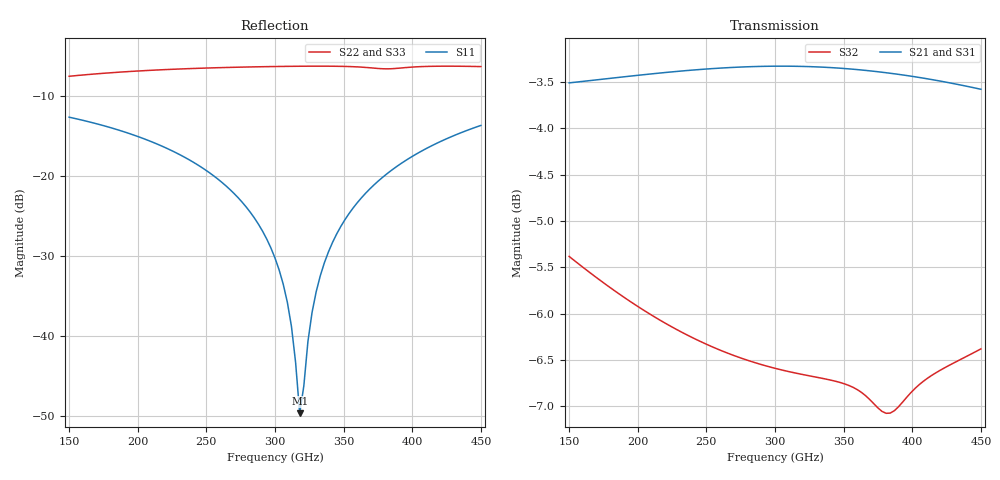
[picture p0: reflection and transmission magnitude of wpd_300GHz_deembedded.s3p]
! Created with skrf 2.2.0 (http://scikit-rf.org).
# GHz S DB R 50.0
! Port[1] = P1
! Port[2] = P2
! Port[3] = P3
!freq dBS11 angS11 dBS12 angS12 dBS13 angS13
! dBS21 angS21 dBS22 angS22 dBS23 angS23
! dBS31 angS31 dBS32 angS32 dBS33 angS33
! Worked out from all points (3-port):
!   101 points, 150 GHz to 450 GHz, reference 50 ohm
!   strongest paths, dB at 150 GHz, 225 GHz, 300 GHz, 375 GHz, 450 GHz:
!     S21: -3.5, -3.4, -3.3, -3.4, -3.6
!     S31: -3.5, -3.4, -3.3, -3.4, -3.6
!     S32: -5.4, -6.1, -6.6, -7.0, -6.4
!   lowest |S11| = -49.7 dB at 318 GHz (marker M1), VSWR 1.01, Z = 49.7 + j0.0701 ohm
!   |S11| at or under -10 dB: start of sweep to end of sweep
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150  -12.60 142.5  -3.51 -41.8  -3.51 -41.8
     -3.51 -41.8  -7.47 55.4  -5.38 -94.5
     -3.51 -41.8  -5.38 -94.5  -7.47 55.4
249  -19.17 118.3  -3.36 -70.5  -3.36 -70.5
     -3.36 -70.5  -6.44 13.1  -6.32 -148.5
     -3.36 -70.5  -6.32 -148.5  -6.44 13.1
279  -23.85 111.6  -3.33 -79.4  -3.34 -79.4
     -3.33 -79.4  -6.31 2.7  -6.50 -164.4
     -3.34 -79.4  -6.50 -164.4  -6.31 2.7
300  -30.25 109.0  -3.33 -85.7  -3.33 -85.7
     -3.33 -85.7  -6.25 -4.2  -6.59 -175.5
     -3.33 -85.7  -6.59 -175.5  -6.25 -4.2
312  -38.83 115.6  -3.33 -89.3  -3.33 -89.3
     -3.33 -89.3  -6.22 -8.1  -6.63 178.2
     -3.33 -89.3  -6.63 178.2  -6.22 -8.1
318  -49.71 167.5  -3.33 -91.1  -3.33 -91.1
     -3.33 -91.1  -6.21 -10.0  -6.65 175.0
     -3.33 -91.1  -6.65 175.0  -6.21 -10.0
330  -34.48 -94.0  -3.33 -94.7  -3.34 -94.8
     -3.33 -94.7  -6.20 -13.9  -6.69 168.6
     -3.34 -94.8  -6.69 168.6  -6.20 -13.9
351  -25.43 -93.6  -3.35 -101.1  -3.36 -101.1
     -3.35 -101.1  -6.24 -20.7  -6.76 157.3
     -3.36 -101.1  -6.76 157.3  -6.24 -20.7
390  -18.62 -102.3  -3.42 -112.8  -3.42 -112.8
     -3.42 -112.8  -6.46 -30.3  -7.01 139.1
     -3.42 -112.8  -7.01 139.1  -6.46 -30.3
450  -13.63 -117.6  -3.58 -130.7  -3.58 -130.7
     -3.58 -130.7  -6.26 -50.5  -6.38 107.3
     -3.58 -130.7  -6.38 107.3  -6.25 -50.6
